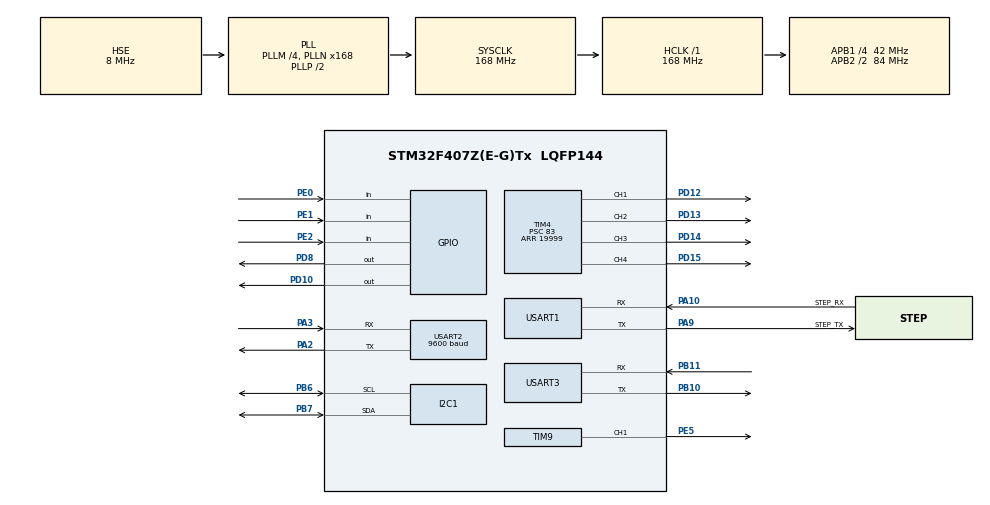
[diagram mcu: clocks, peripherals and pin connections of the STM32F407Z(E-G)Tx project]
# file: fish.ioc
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Dma.Request0=USART1_TX
Dma.Request1=USART2_TX
Dma.Request2=USART2_RX
Dma.USART1_TX.0.Direction=DMA_MEMORY_TO_PERIPH
Dma.USART1_TX.0.FIFOMode=DMA_FIFOMODE_DISABLE
Dma.USART1_TX.0.Instance=DMA2_Stream7
Dma.USART1_TX.0.MemDataAlignment=DMA_MDATAALIGN_BYTE
Dma.USART1_TX.0.MemInc=DMA_MINC_ENABLE
Dma.USART1_TX.0.Mode=DMA_NORMAL
Dma.USART1_TX.0.PeriphDataAlignment=DMA_PDATAALIGN_BYTE
Dma.USART1_TX.0.PeriphInc=DMA_PINC_DISABLE
Dma.USART1_TX.0.Priority=DMA_PRIORITY_LOW
Dma.USART2_RX.2.Direction=DMA_PERIPH_TO_MEMORY
Dma.USART2_RX.2.FIFOMode=DMA_FIFOMODE_DISABLE
Dma.USART2_RX.2.Instance=DMA1_Stream5
Dma.USART2_RX.2.MemDataAlignment=DMA_MDATAALIGN_BYTE
Dma.USART2_RX.2.MemInc=DMA_MINC_ENABLE
Dma.USART2_RX.2.Mode=DMA_NORMAL
Dma.USART2_RX.2.PeriphDataAlignment=DMA_PDATAALIGN_BYTE
Dma.USART2_RX.2.PeriphInc=DMA_PINC_DISABLE
Dma.USART2_RX.2.Priority=DMA_PRIORITY_LOW
Dma.USART2_TX.1.Direction=DMA_MEMORY_TO_PERIPH
Dma.USART2_TX.1.FIFOMode=DMA_FIFOMODE_DISABLE
Dma.USART2_TX.1.Instance=DMA1_Stream6
Dma.USART2_TX.1.MemDataAlignment=DMA_MDATAALIGN_BYTE
Dma.USART2_TX.1.MemInc=DMA_MINC_ENABLE
Dma.USART2_TX.1.Mode=DMA_NORMAL
Dma.USART2_TX.1.PeriphDataAlignment=DMA_PDATAALIGN_BYTE
Dma.USART2_TX.1.PeriphInc=DMA_PINC_DISABLE
Dma.USART2_TX.1.Priority=DMA_PRIORITY_LOW
Mcu.Family=STM32F4
Mcu.Name=STM32F407Z(E-G)Tx
Mcu.Package=LQFP144
NVIC.DMA1_Stream5_IRQn=true\:0\:0\:false\:false\:true\:false\:true\:true
NVIC.DMA1_Stream6_IRQn=true\:0\:0\:false\:false\:true\:false\:true\:true
NVIC.DMA2_Stream7_IRQn=true\:0\:0\:false\:false\:true\:false\:true\:true
NVIC.PriorityGroup=NVIC_PRIORITYGROUP_4
NVIC.TIM3_IRQn=true\:5\:0\:true\:false\:true\:true\:true\:true
NVIC.USART1_IRQn=true\:0\:0\:false\:false\:true\:false\:true\:true
NVIC.USART2_IRQn=true\:0\:0\:false\:false\:true\:true\:true\:true
PA10.GPIO_Label=STEP_RX
PA10.Mode=Asynchronous
PA10.Signal=USART1_RX
PA13.Mode=Serial_Wire
PA13.Signal=SYS_JTMS-SWDIO
PA14.Mode=Serial_Wire
PA14.Signal=SYS_JTCK-SWCLK
PA2.Mode=Asynchronous
PA2.Signal=USART2_TX
PA3.Mode=Asynchronous
PA3.Signal=USART2_RX
PA9.GPIO_Label=STEP_TX
PA9.Mode=Asynchronous
PA9.Signal=USART1_TX
PB10.Mode=Asynchronous
PB10.Signal=USART3_TX
PB11.Mode=Asynchronous
PB11.Signal=USART3_RX
PB6.Mode=I2C
PB6.Signal=I2C1_SCL
PB7.Mode=I2C
PB7.Signal=I2C1_SDA
PD10.GPIO_ModeDefaultOutputPP=GPIO_MODE_OUTPUT_OD
PD10.GPIO_PuPd=GPIO_PULLUP
PD10.Signal=GPIO_Output
PD12.Signal=S_TIM4_CH1
PD13.Signal=S_TIM4_CH2
PD14.Signal=S_TIM4_CH3
PD15.Signal=S_TIM4_CH4
PD8.GPIO_ModeDefaultOutputPP=GPIO_MODE_OUTPUT_OD
PD8.GPIO_PuPd=GPIO_PULLUP
PD8.Signal=GPIO_Output
PE0.GPIO_PuPd=GPIO_PULLUP
PE0.Signal=GPIO_Input
PE1.GPIO_PuPd=GPIO_PULLUP
PE1.Signal=GPIO_Input
PE2.GPIO_PuPd=GPIO_PULLUP
PE2.Signal=GPIO_Input
PE5.Signal=S_TIM9_CH1
PH0-OSC_IN.Mode=HSE-External-Oscillator
PH0-OSC_IN.Signal=RCC_OSC_IN
PH1-OSC_OUT.Mode=HSE-External-Oscillator
PH1-OSC_OUT.Signal=RCC_OSC_OUT
ProjectManager.HeapSize=0x200
ProjectManager.StackSize=0x400
ProjectManager.TargetToolchain=MDK-ARM V5.32
RCC.48MHZClocksFreq_Value=84000000
RCC.AHBFreq_Value=168000000
RCC.APB1CLKDivider=RCC_HCLK_DIV4
RCC.APB1Freq_Value=42000000
RCC.APB1TimFreq_Value=84000000
RCC.APB2CLKDivider=RCC_HCLK_DIV2
RCC.APB2Freq_Value=84000000
RCC.APB2TimFreq_Value=168000000
RCC.CortexFreq_Value=168000000
RCC.HCLKFreq_Value=168000000
RCC.HSE_VALUE=8000000
RCC.HSI_VALUE=16000000
RCC.LSE_VALUE=32768
RCC.PLLM=4
RCC.PLLN=168
RCC.PLLSourceVirtual=RCC_PLLSOURCE_HSE
RCC.SYSCLKFreq_VALUE=168000000
RCC.SYSCLKSource=RCC_SYSCLKSOURCE_PLLCLK
RCC.VCOOutputFreq_Value=336000000
SH.S_TIM4_CH1.0=TIM4_CH1,PWM Generation1 CH1
SH.S_TIM4_CH2.0=TIM4_CH2,PWM Generation2 CH2
SH.S_TIM4_CH3.0=TIM4_CH3,PWM Generation3 CH3
SH.S_TIM4_CH4.0=TIM4_CH4,PWM Generation4 CH4
SH.S_TIM9_CH1.0=TIM9_CH1,PWM Generation1 CH1
TIM3.AutoReloadPreload=TIM_AUTORELOAD_PRELOAD_ENABLE
TIM3.Period=199
TIM3.Prescaler=8399
TIM4.AutoReloadPreload=TIM_AUTORELOAD_PRELOAD_ENABLE
TIM4.Channel-PWM\ Generation1\ CH1=TIM_CHANNEL_1
TIM4.Channel-PWM\ Generation2\ CH2=TIM_CHANNEL_2
TIM4.Channel-PWM\ Generation3\ CH3=TIM_CHANNEL_3
TIM4.Channel-PWM\ Generation4\ CH4=TIM_CHANNEL_4
TIM4.Period=19999
TIM4.Prescaler=83
TIM4.Pulse-PWM\ Generation1\ CH1=1500
TIM4.Pulse-PWM\ Generation2\ CH2=1500
TIM4.Pulse-PWM\ Generation3\ CH3=1500
TIM9.AutoReloadPreload=TIM_AUTORELOAD_PRELOAD_ENABLE
TIM9.Channel-PWM\ Generation1\ CH1=TIM_CHANNEL_1
TIM9.Period=19999
TIM9.Prescaler=167
USART1.VirtualMode=VM_ASYNC
USART2.BaudRate=9600
USART2.VirtualMode=VM_ASYNC
USART3.VirtualMode=VM_ASYNC
VP_TIM3_VS_ClockSourceINT.Mode=Internal
VP_TIM4_VS_ClockSourceINT.Mode=Internal
VP_TIM9_VS_ClockSourceINT.Mode=Internal
board=custom

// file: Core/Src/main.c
/* USER CODE BEGIN Header */
/**
  ******************************************************************************
  * @file           : main.c
  * @brief          : Main program body
  ******************************************************************************
  * @attention
  *
  * Copyright (c) 2026 STMicroelectronics.
  * All rights reserved.
  *
  * This software is licensed under terms that can be found in the LICENSE file
  * in the root directory of this software component.
  * If no LICENSE file comes with this software, it is provided AS-IS.
  *
  ******************************************************************************
  */
/* USER CODE END Header */
#include "main.h"
#include "dma.h"
#include "i2c.h"
#include "tim.h"
#include "usart.h"
#include "gpio.h"

/* USER CODE BEGIN Includes */
#include "Handle_One.h"      /* 航向角 PD 闭环: 中断取数/算 + 主循环下发 */
#include "Handle_Second.h"   /* 机械臂舵机调试(底座扫描找零度) + USART3 占位 */
#include "jy901s.h"
#include "OLED.h"
#include "key.h"
#include "Menu.h"
#include "wireless_uart.h"
#include "servo.h"
/* USER CODE END Includes */

/* USER CODE BEGIN PV */

/* ==================== 航向角 PD 闭环 ====================
 * 闭环的状态量(g_yaw_* / g_drive_*)、PD 参数、TIM3 中断回调、
 * 启动停车逻辑、输出下发, 全部搬到了 Function/Handle_One.c,
 * 对外接口见 Function/Handle_One.h。
 * main.c 这边只需要: 初始化调 Handle_One_Init(), 主循环调 Handle_One_Run()。
 * ================================================================= */

/* USER CODE END PV */

void SystemClock_Config(void);

int main(void)
{

  /* MCU Configuration--------------------------------------------------------*/

  /* Reset of all peripherals, Initializes the Flash interface and the Systick. */
  HAL_Init();

  /* Configure the system clock */
  SystemClock_Config();

  /* USER CODE BEGIN SysInit */

  /* (SysTick 优先级在 Handle_One_Init() 里设置 —— 它是 TIM3 中断里
   *  读 I2C 能正常判超时的前置条件, 属于闭环模块自己的事) */

  /* USER CODE END SysInit */

  /* Initialize all configured peripherals */
  MX_GPIO_Init();
  MX_DMA_Init();
  MX_I2C1_Init();
  MX_USART1_UART_Init();
  MX_USART2_UART_Init();
  MX_USART3_UART_Init();
  MX_TIM3_Init();
  MX_TIM4_Init();
  MX_TIM9_Init();
  /* USER CODE BEGIN 2 */

  /* 初始化 JY901S 姿态模块(I2C 接口, PB6=SCL, PB7=SDA) */
  JY901S_Init();

  /* 初始化 OLED(软件I2C, PD10=SCL, PD8=SDA) */
  OLED_Init();
  OLED_Clear();
  OLED_ShowString(0, 0, "JY901S init...");
  OLED_Refresh();

  /* 等模块上电稳定, 然后主动读一帧, 确认它能正常应答 */
  HAL_Delay(500);
  (void)JY901S_ReadOnce();

  if (!jy901s_data.ready)
  {
    /* 读不到数据: 检查 PB6/PB7 接线与 4.7k 上拉电阻 */
    OLED_ShowString(0, 2, "No IMU data!");
    OLED_ShowString(0, 4, "Chk wire+pullup");
    OLED_Refresh();
    HAL_Delay(1500);
  }
  else
  {
    JY901S_SetOutputRate(JY901S_RRATE_50HZ);
  }

  /* 起跑前把当前朝向清零, 之后读到的 Yaw 都是相对这个方向 */
  JY901S_ZeroYaw();
  /* 初始化按键(PE0=KEY1, PE1=KEY2, PE2=KEY3, 上拉输入, 按下为低电平)*/
  Key_Init();

  /* 初始化 OLED 菜单, 从第一页(选择界面)开始 */
  Menu_Init();
  /* 初始化无线串口上报(VOFA+ 波形), 只复位内部计时 */
  Wireless_Init();
  /* 初始化舵机: 5 路按 servo.c 里 s_servo_power_on_pulse[] 给的脉宽直接输出 */
  Servo_Init();

#if (ARM_TEST_MODE == ARM_TEST_MODE_OUTPUT)
  /* 舵机输出对账(调试用): 不动舵机, 只把 5 路的 mem/ccr/引脚实测波形打到
   * OLED 上, 用来和示波器读数对账。★ 内部是死循环 —— 看完把 Handle_Second.h
   * 里的 ARM_TEST_MODE 改回 ARM_TEST_MODE_OFF 再重新编译。 */
  Arm_OutputCheck();
#endif

  /* 初始化航向角 PD 闭环模块*/
  Handle_One_Init();

  /* USER CODE END 2 */

  /* Infinite loop */
  while (1)
  {

    /* USER CODE BEGIN 3 */

    /* 航向闭环: 处理启动/停车请求 + 把中断算出的结果下发给电机
     * (内部限频 30ms, 三个量和上次一样就不重发) */
    Handle_One_Run();

    /* 按键轮询检测(内部按 10ms 间隔采样并消抖) */
    Key_Scan();

    /* OLED 菜单: 内部处理按键(切换页面/移动光标)并绘制当前页面,
     * 显示按 100ms 限频刷新。显示内容全部由 Menu.c 负责。 */
    Menu_Run();
  }
  /* USER CODE END 3 */
}

void SystemClock_Config(void)
{
  RCC_OscInitTypeDef RCC_OscInitStruct = {0};
  RCC_ClkInitTypeDef RCC_ClkInitStruct = {0};

  /** Configure the main internal regulator output voltage
  */
  __HAL_RCC_PWR_CLK_ENABLE();
  __HAL_PWR_VOLTAGESCALING_CONFIG(PWR_REGULATOR_VOLTAGE_SCALE1);

  /** Initializes the RCC Oscillators according to the specified parameters
  * in the RCC_OscInitTypeDef structure.
  */
  RCC_OscInitStruct.OscillatorType = RCC_OSCILLATORTYPE_HSE;
  RCC_OscInitStruct.HSEState = RCC_HSE_ON;
  RCC_OscInitStruct.PLL.PLLState = RCC_PLL_ON;
  RCC_OscInitStruct.PLL.PLLSource = RCC_PLLSOURCE_HSE;
  RCC_OscInitStruct.PLL.PLLM = 4;
  RCC_OscInitStruct.PLL.PLLN = 168;
  RCC_OscInitStruct.PLL.PLLP = RCC_PLLP_DIV2;
  RCC_OscInitStruct.PLL.PLLQ = 4;
  if (HAL_RCC_OscConfig(&RCC_OscInitStruct) != HAL_OK)
  {
    Error_Handler();
  }

  /** Initializes the CPU, AHB and APB buses clocks
  */
  RCC_ClkInitStruct.ClockType = RCC_CLOCKTYPE_HCLK|RCC_CLOCKTYPE_SYSCLK
                              |RCC_CLOCKTYPE_PCLK1|RCC_CLOCKTYPE_PCLK2;
  RCC_ClkInitStruct.SYSCLKSource = RCC_SYSCLKSOURCE_PLLCLK;
  RCC_ClkInitStruct.AHBCLKDivider = RCC_SYSCLK_DIV1;
  RCC_ClkInitStruct.APB1CLKDivider = RCC_HCLK_DIV4;
  RCC_ClkInitStruct.APB2CLKDivider = RCC_HCLK_DIV2;

  if (HAL_RCC_ClockConfig(&RCC_ClkInitStruct, FLASH_LATENCY_5) != HAL_OK)
  {
    Error_Handler();
  }
}

/* USER CODE BEGIN 4 */

/* ==================== 航向角 PD 闭环实现 ====================
 * 这部分(PD 参数宏、状态量、TIM3 中断回调、启动/停车、输出下发)
 * 已经整体搬到 Function/Handle_One.c, 接口见 Function/Handle_One.h。
 * 这里不再放具体实现, 免得两处逻辑对不上。
 * ================================================================= */

/* USER CODE END 4 */

void Error_Handler(void)
{
  __disable_irq();
  while (1)
  {
  }
}
